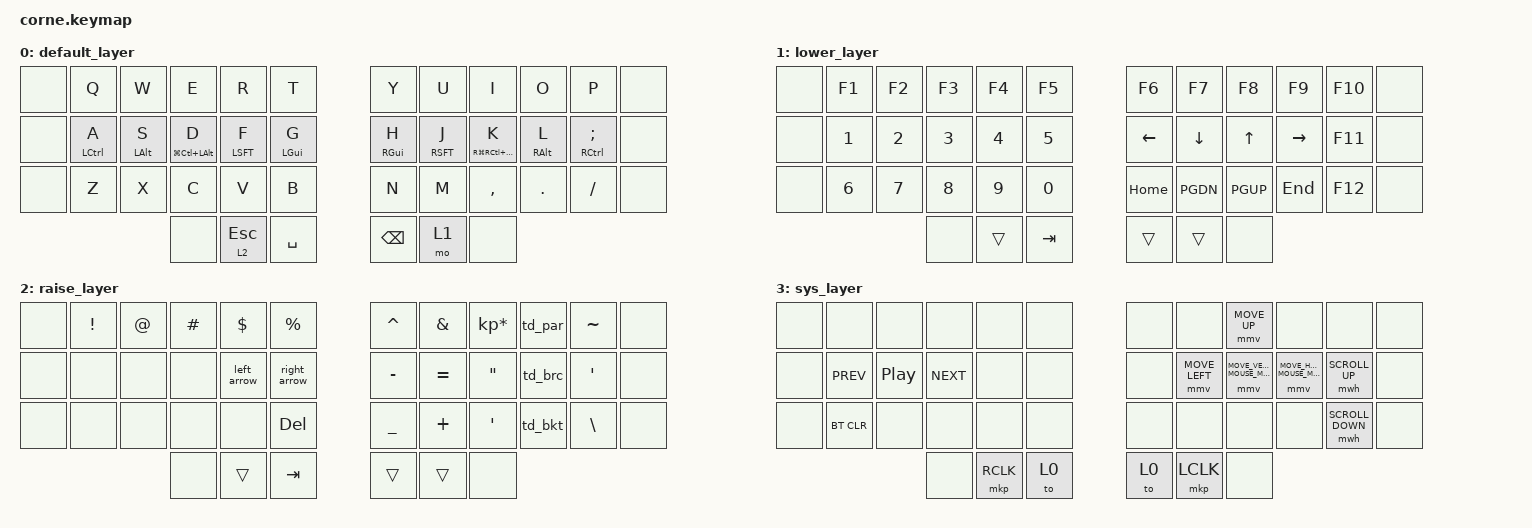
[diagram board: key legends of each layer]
/*
 * Copyright (c) 2020 The ZMK Contributors
 *
 * SPDX-License-Identifier: MIT
 */

#include <behaviors.dtsi>
#include <dt-bindings/zmk/keys.h>
#include <dt-bindings/zmk/bt.h>
#include <dt-bindings/zmk/mouse.h>

#define U_MOUSE_MOVE_MAX 1000
#undef MOVE_UP
#undef MOVE_DOWN
#undef MOVE_LEFT
#undef MOVE_RIGHT
#define MOVE_UP MOVE_VERT(-U_MOUSE_MOVE_MAX)
#define MOVE_DOWN MOVE_VERT(U_MOUSE_MOVE_MAX)
#define MOVE_LEFT MOVE_HOR(-U_MOUSE_MOVE_MAX)
#define MOVE_RIGHT MOVE_HOR(U_MOUSE_MOVE_MAX)

&mmv {
	time-to-max-speed-ms = <200>;
};

/ {

	combos {
		compatible = "zmk,combos";
		combo_shift {
		    timeout-ms = <50>;
		    key-positions = <38 39>;
		    bindings = <&caps_word>;
		};
		combo_tab {
		    timeout-ms = <50>;
		    key-positions = <1 10>;
		    bindings = <&kp TAB>;
		};
		combo_enter {
		    timeout-ms = <50>;
		    key-positions = <13 22>;
		    bindings = <&kp RET>;
		};
		combo_enter_r {
		    timeout-ms = <50>;
		    key-positions = <19 20>;
		    bindings = <&kp RET>;
		};
		combo_sys {
		    timeout-ms = <50>;
		    key-positions = <25 34>;
		    bindings = <&to 3>;
		};
	    };

	behaviors {
		hm: homerow_mods {
		    compatible = "zmk,behavior-hold-tap";
		    label = "HOMEROW_MODS";
		    #binding-cells = <2>;
		    tapping-term-ms = <180>;
		    quick_tap_ms = <0>;
		    flavor = "tap-preferred";
		    bindings = <&kp>, <&kp>;
		};
		ltf: layer_tap_fast {
		    compatible = "zmk,behavior-hold-tap";
		    label = "LAYER TAP FAST";
		    #binding-cells = <2>;
		    tapping-term-ms = <125>;
		    quick_tap_ms = <0>;
		    flavor = "tap-preferred";
		    bindings = <&mo>, <&kp>;
		};
		td_par: tdpar {
		    compatible = "zmk,behavior-tap-dance";
		    label = "TDPAR";
		    #binding-cells = <0>;
		    tapping-term-ms = <150>;
		    bindings = <&kp LPAR>, <&kp RPAR>;
		};
		td_brc: tdbrc {
		    compatible = "zmk,behavior-tap-dance";
		    label = "TDBRC";
		    #binding-cells = <0>;
		    tapping-term-ms = <150>;
		    bindings = <&kp LBRC>, <&kp RBRC>;
		};
		td_bkt: tdbkt {
		    compatible = "zmk,behavior-tap-dance";
		    label = "TDBKT";
		    #binding-cells = <0>;
		    tapping-term-ms = <150>;
		    bindings = <&kp LBKT>, <&kp RBKT>;
		};
		td_apos: tdapos {
		    compatible = "zmk,behavior-tap-dance";
		    label = "TDAPOS";
		    #binding-cells = <0>;
		    tapping-term-ms = <150>;
		    bindings = <&kp APOS>, <&kp PIPE>;
		};
	};

	macros {
		ZMK_MACRO(right_arrow,
			bindings = <&macro_tap &kp MINUS &kp GT>;
		)

		ZMK_MACRO(left_arrow,
			bindings = <&macro_tap &kp LT &kp MINUS>;
		)
	};

        keymap {
                compatible = "zmk,keymap";

                default_layer {
                       bindings = <
			         &none &kp Q &kp W &kp E &kp R &kp T   &kp Y &kp U &kp I &kp O &kp P &none
&none &hm LCTL A &hm LALT S &hm LG(LC(LALT)) D &hm LSFT F &hm LGUI G   &hm RGUI H &hm RSFT J &hm RG(RC(RALT)) K &hm RALT L &hm RCTRL SEMI &none
                                 &none &kp Z &kp X &kp C &kp V &kp B   &kp N &kp M  &kp COMMA &kp DOT &kp FSLH &none
                                          &none &ltf 2 ESC &kp SPACE   &kp BSPC &mo 1 &none  
                        >;
                };

                lower_layer {
                        bindings = <
   &none &kp F1 &kp F2 &kp F3 &kp F4 &kp F5   &kp F6 &kp F7 &kp F8 &kp F9 &kp F10 &none
   &none &kp N1 &kp N2 &kp N3 &kp N4 &kp N5   &kp LEFT &kp DOWN &kp UP &kp RIGHT &kp F11 &none
   &none &kp N6 &kp N7 &kp N8 &kp N9 &kp N0   &kp HOME &kp PGDN &kp PGUP &kp END &kp F12 &none
                      &none &trans &kp TAB   &trans &trans &none
                        >;
                };

                raise_layer {
                        bindings = <
&none &kp EXCL &kp AT &kp HASH &kp DLLR &kp PRCNT   &kp CARET &kp AMPS &kp KP_MULTIPLY &td_par &kp TILDE &none
 &none &none &none &none &left_arrow &right_arrow   &kp MINUS &kp EQUAL &kp DQT &td_brc &kp APOS &none 
            &none &none &none &none &none &kp DEL   &kp UNDER &kp PLUS &kp SQT &td_bkt &kp BSLH &none
                            &none &trans &kp TAB   &trans &trans &none
                        >;
                };

                sys_layer {
                        bindings = <
             &none &none &none &none &none &none   &none &none &mmv MOVE_UP &none &none &none
&none &kp C_PREV &kp C_PP &kp C_NEXT &none &none   &none &mmv MOVE_LEFT &mmv MOVE_DOWN &mmv MOVE_RIGHT &mwh SCROLL_UP &none 
        &none &bt BT_CLR &none &none &none &none   &none &none &none &none &mwh SCROLL_DOWN &none
                          &none &mkp RCLK &to 0   &to 0 &mkp LCLK &none
                        >;
                };
        };
};
